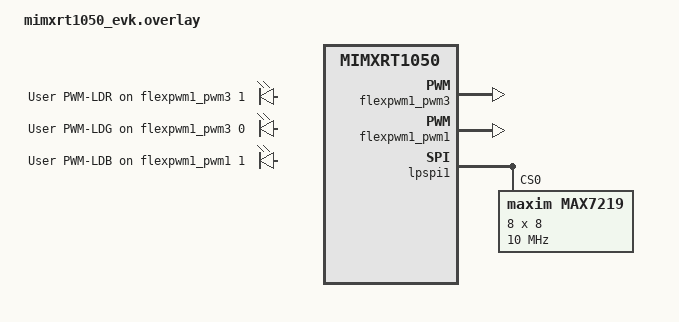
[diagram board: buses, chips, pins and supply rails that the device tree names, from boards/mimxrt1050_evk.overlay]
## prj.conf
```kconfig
CONFIG_PRINTK=y
CONFIG_SHELL=y
CONFIG_KERNEL_SHELL=y
CONFIG_THREAD_MONITOR=y
CONFIG_INIT_STACKS=y
# CONFIG_THREAD_NAME=y
CONFIG_DEVICE_SHELL=y
CONFIG_BOOT_BANNER=y
CONFIG_LOG=y
# CONFIG_OBJECT_TRACING=y
CONFIG_PWM=y
CONFIG_SPI=y
CONFIG_DISPLAY=y
CONFIG_MAX7219=y
```

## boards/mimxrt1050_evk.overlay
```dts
/ {

    pwmleds {
        compatible = "pwm-leds";
        r_pwm: led_r {
            pwms = <&flexpwm1_pwm3 1>;
            label = "User PWM-LDR";
        };

        g_pwm: led_g {
            pwms = <&flexpwm1_pwm3 0>;
            label = "User PWM-LDG";
        };

        b_pwm: led_b {
            pwms = <&flexpwm1_pwm1 1>;
            label = "User PWM-LDB";
        };
    };

 };
 
&flexpwm1_pwm3 {
	status="okay";
};
&flexpwm1_pwm1 {
	status="okay";
};
&lpspi1 {
	status = "okay";
	disp_node: max7219_disp@0 {
		compatible = "maxim,max7219";
		height = <8>;
		width = <8>;
		reg = <0>;
		spi-max-frequency = <10000000>;
		label = "MAX7219"; 
	};
};
```

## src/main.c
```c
#include <zephyr.h>
#include <device.h>
#include <devicetree.h>
#include <drivers/gpio.h>
#include <drivers/spi.h>
#include <sys/util.h>
#include <sys/printk.h>
#include <shell/shell.h>
#include <fsl_lpspi.h>
#include <shell/shell_uart.h>
#include <version.h>
#include <stdlib.h>
#include <drivers/pwm.h>
#include <drivers/display.h>
#include <fsl_common.h>
//#include <fsl_gpio.h> 
#include <fsl_iomuxc.h>
//#include <soc.h>

#define DEBUG 

#if defined(DEBUG) 
	#define DPRINTK(fmt, args...) printk("DEBUG: %s():%d: " fmt, \
   		 __func__, __LINE__, ##args)
#else
 	#define DPRINTK(fmt, args...) /* do nothing if not defined*/
#endif

// GET PROPERTIES OF PWM DEVICE FROM DEVICE TREE

#define PWM_LEDR_NODE	DT_NODELABEL(r_pwm)

#define R_CHANNEL	DT_PWMS_CHANNEL(PWM_LEDR_NODE)	

#define PWM_LEDG_NODE	DT_NODELABEL(g_pwm)

#define G_CHANNEL	DT_PWMS_CHANNEL(PWM_LEDG_NODE)	

#define PWM_LEDB_NODE	DT_NODELABEL(b_pwm)

#define B_CHANNEL	DT_PWMS_CHANNEL(PWM_LEDB_NODE)

// GET PROPERTIES OF DISPLAY DEVICE FROM DEVICE TREE

#define MAX_COUNT DT_PROP(DT_NODELABEL(disp_node),width)

#define FREQUENCY 50U // PWM WAVE FREQUENCY

#define PERIOD USEC_PER_SEC/FREQUENCY // PWM WAVE TIME PERIOD

const struct device *pwm1, *pwm2, *pwm3; // DEVICE POINTERS FOR PWM DEVICES

static int x,y,z; 

static uint8_t data[MAX_COUNT]={0}; 

int n,row,height=0;

volatile bool blink_on;

const struct device *disp; 

static int cmd_cycle_pwm(const struct shell *shell, size_t argc, char **argv)
{		
		
		int ret;

		x=atoi(argv[1]);
		y=atoi(argv[2]);
		z=atoi(argv[3]);
	
	if(argc!=4){
		shell_print(shell,"Invalid number of arguments!");
		return -1;
	}
		// TRIGGER PWM WAVE ON RED LED USING PWM API AND DUTY CYCLE RECIEVED IN SHELL ARGUMENTS
		ret=pwm_pin_set_usec(pwm1, R_CHANNEL, PERIOD, x*(PERIOD/100),0);
		
		if(ret){
			printk("Error %d: failed to set pulse width\n", ret);
			return ret;
		}
		k_usleep(PERIOD);

		// TRIGGER PWM WAVE ON GREEN LED USING PWM API AND DUTY CYCLE RECIEVED IN SHELL ARGUMENTS
		ret=pwm_pin_set_usec(pwm2, G_CHANNEL, PERIOD, y*(PERIOD/100), 0);
		
		if(ret){
			printk("Error %d: failed to set pulse width\n", ret);
			return ret;
		}

		// TRIGGER PWM WAVE ON BLUEUSING PWM API AND DUTY CYCLE RECIEVED IN SHELL ARGUMENTS
		ret=pwm_pin_set_usec(pwm3, B_CHANNEL, PERIOD, z*(PERIOD/100), 0);
		
		if(ret){
			printk("Error %d: failed to set pulse width\n", ret);
			return ret;
		}
	// --------------------  PWM CODE ENDS --------------------------	
	return 0;
}

static int cmd_blinking_disp(const struct shell *shell, size_t argc, char **argv)
{
	n=atoi(argv[1]);

	// CHECK IF NUMBER OF ARGUMENTS ARE VALID

	if(argc!=2){
		shell_print(shell,"Invalid number of arguments!");
		return -1;
	}

	if(n==1)
		blink_on=true;
	else if(n==0){
		blink_on=false;
		display_blanking_off(disp);
	}

	// IF n IS ANY OTHER VALUE THEN PRINT ERROR 
	else{
		shell_print(shell,"Invalid number of arguments!");
		return -1;	
	}
		
	return 0;
}

static int cmd_pattern(const struct shell *shell, size_t argc, char **argv)
{	
		row=atoi(argv[1]);
		if((argc>11) || (argc<3) || row < 0 || row > 7){
			shell_print(shell,"Invalid number of arguments!");
			return -1;	
		}
		height = argc-2;
		// do height check
		if(height > MAX_COUNT-row){
			shell_print(shell,"Invalid number of arguments!");
			return -1;
		}

		int k=2;
		for(int i=row; i<row+height; i++){
			data[i]=strtol(argv[k], NULL, 16);
			k++;
		}

		// USE BUFFER DESCRIPTOR TO PASS DESCRIPTOR BUFFER PROPERTIES

		struct display_buffer_descriptor desc;

		desc.buf_size=sizeof(data);
		desc.width=MAX_COUNT;
		desc.height= height;
		desc.pitch=MAX_COUNT;
		
	// ledm operation
		display_write(disp, 0, row, &desc, &data);	
			
	return 0;
}

// SUBCOMMAND SET WITH CALL BACK FUNCTIONS

SHELL_STATIC_SUBCMD_SET_CREATE(sub_demo,
	SHELL_CMD(rgb, NULL, "Sets duty cycle for PWM pulses", cmd_cycle_pwm),
	SHELL_CMD(ledm, NULL, "Displays a pattern on LED Matrix", cmd_pattern),
	SHELL_CMD(ledb, NULL, "Used for blinking a pattern on LED Matrix", cmd_blinking_disp),
	SHELL_SUBCMD_SET_END // Array terminated. //
);

// REGISTER SHELL COMMAND p2 WITH SUBCOMMAND SET SUB_DEMO

SHELL_CMD_REGISTER(p2, &sub_demo, "Root command for LED operations", NULL);


void main(void)
{	
	// PIN MUX OPERATIONS FOR SETTING PINS OF GPIO DEVICE

	IOMUXC_SetPinMux(IOMUXC_GPIO_AD_B0_11_FLEXPWM1_PWMB03, 0);

	IOMUXC_SetPinConfig(IOMUXC_GPIO_AD_B0_11_FLEXPWM1_PWMB03,
			    IOMUXC_SW_PAD_CTL_PAD_PUE(1) |
			    IOMUXC_SW_PAD_CTL_PAD_PKE_MASK |
			    IOMUXC_SW_PAD_CTL_PAD_SPEED(2) |
			    IOMUXC_SW_PAD_CTL_PAD_DSE(6));

	IOMUXC_SetPinMux(IOMUXC_GPIO_AD_B0_10_FLEXPWM1_PWMA03, 0);

	IOMUXC_SetPinConfig(IOMUXC_GPIO_AD_B0_10_FLEXPWM1_PWMA03,
			    IOMUXC_SW_PAD_CTL_PAD_PUE(1) |
			    IOMUXC_SW_PAD_CTL_PAD_PKE_MASK |
			    IOMUXC_SW_PAD_CTL_PAD_SPEED(2) |
			    IOMUXC_SW_PAD_CTL_PAD_DSE(6));

	IOMUXC_SetPinMux(IOMUXC_GPIO_SD_B0_03_FLEXPWM1_PWMB01, 0);

	IOMUXC_SetPinConfig(IOMUXC_GPIO_SD_B0_03_FLEXPWM1_PWMB01,
			    IOMUXC_SW_PAD_CTL_PAD_PUE(1) |
			    IOMUXC_SW_PAD_CTL_PAD_PKE_MASK |
			    IOMUXC_SW_PAD_CTL_PAD_SPEED(2) |
			    IOMUXC_SW_PAD_CTL_PAD_DSE(6));

	// PIN MUX OPERATIONS FOR SETTING MOSI, CS AND CLK PINS FOR LPSPI DEVICE

	IOMUXC_SetPinMux(IOMUXC_GPIO_SD_B0_02_LPSPI1_SDO, 0);

	IOMUXC_SetPinConfig(IOMUXC_GPIO_SD_B0_02_LPSPI1_SDO,
			    IOMUXC_SW_PAD_CTL_PAD_PUE(1) |
			    IOMUXC_SW_PAD_CTL_PAD_PKE_MASK |
			    IOMUXC_SW_PAD_CTL_PAD_SPEED(2) |
			    IOMUXC_SW_PAD_CTL_PAD_DSE(6));
	
	IOMUXC_SetPinMux(IOMUXC_GPIO_SD_B0_00_LPSPI1_SCK, 0);

	IOMUXC_SetPinConfig(IOMUXC_GPIO_SD_B0_00_LPSPI1_SCK,
			    IOMUXC_SW_PAD_CTL_PAD_PUE(1) |
			    IOMUXC_SW_PAD_CTL_PAD_PKE_MASK |
			    IOMUXC_SW_PAD_CTL_PAD_SPEED(2) |
			    IOMUXC_SW_PAD_CTL_PAD_DSE(6));

	IOMUXC_SetPinMux(IOMUXC_GPIO_SD_B0_01_LPSPI1_PCS0, 0);

	IOMUXC_SetPinConfig(IOMUXC_GPIO_SD_B0_01_LPSPI1_PCS0,
			    IOMUXC_SW_PAD_CTL_PAD_PUE(1) |
			    IOMUXC_SW_PAD_CTL_PAD_PKE_MASK |
			    IOMUXC_SW_PAD_CTL_PAD_SPEED(2) |
			    IOMUXC_SW_PAD_CTL_PAD_DSE(6));
	
	// --------------------  PWM CODE BEGINS --------------------------

	char* n1=DT_PROP(DT_NODELABEL(flexpwm1_pwm3),label);
	
	pwm1 = device_get_binding(n1);
	if (!pwm1) {
		printk("Error: PWM device %s is not ready\n", pwm1->name);
		return;
	}
	
	char* n2=DT_PROP(DT_NODELABEL(flexpwm1_pwm3),label);
	
	pwm2 = device_get_binding(n2);
	if (!pwm2) {
		printk("Error: PWM device %s is not ready\n", pwm2->name);
		return;
	}
	
	char* n3=DT_PROP(DT_NODELABEL(flexpwm1_pwm1),label);
	
	pwm3 = device_get_binding(n3);
	if (!pwm3) {
		printk("Error: PWM device %s is not ready\n", pwm3->name);
		return;
	}	
	// --------------------PWM CODE end ---------------------------------------------

	// --------------------- DISPLAY code start -------------------------------------------			
	disp = device_get_binding(DT_PROP(DT_NODELABEL(disp_node),label));
	
		while(1){
			if(blink_on){
			display_blanking_on(disp);
			k_msleep(1000);
			display_blanking_off(disp);
			k_msleep(1000);
		}
		k_msleep(1);
		}
	// --------------------- DISPLAY code end -------------------------------------------
}
```
